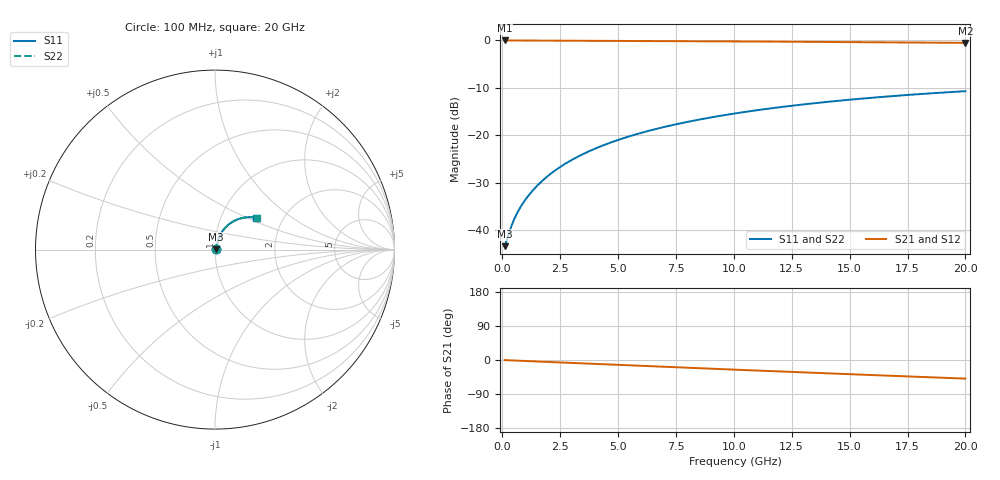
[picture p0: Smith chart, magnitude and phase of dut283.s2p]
! Touchstone file exported from HFSS 2026.1.0
!  File:  C:/ffzhzh/LocalFiles/Ansys_Project_Files/temp_train_TMRDL_283_1782985373_45328.aedt
!  Generated:  05:44:02 PM Jul  2, 2026
!  Design:  TMRDL
!  Project:  temp_train_TMRDL_283_1782985373_45328
! Variables:
!  h_bsmrdl = 2um
!  h_ox = 20um
!  h_rdl = 5um
!  h_sub = 80um
!  h_tmrdl = 2.61um
!  h_tsv = 80um
!  h_via = 3um
!  l_bsmrdl = 300um
!  l_sub = 1223.1um
!  l_tmrdl = 823.1um
!  m_sub = 200um
!  pitch = 28.14um
!  r_tsv = 6um
!  s_tmrdl = 10um
!  w_bsmrdl = 18um
!  w_sub = 500um
!  w_tmrdl = 17.86um
!  x_tsv_center1 = 832.03um
!  x_tsv_center2 = 1150.03um
!  x_tsv_center3 = 1990.99um
!  x_tsv_center4 = 2308.99um
!  x_tsv_center5 = 3149.95um
!  x_tsv_center6 = 3467.95um
# GHz S MA R 50.000000
! Terminal data exported
! Port[1] = TM_RDL1_1_T1
! Port[2] = TM_RDL1_1_T2
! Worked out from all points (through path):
!   200 points, 100 MHz to 20 GHz, reference 50 ohm
!   highest |S21| = -0.06 dB at 100 MHz (marker M1); lowest = -0.6 dB at 20 GHz (marker M2)
!   group delay of S21, straight-line fit = 6.82 ps
!   lowest |S11| = -43.4 dB at 100 MHz (marker M3), VSWR 1.01, Z = 50.6 + j0.226 ohm
!   |S11| at or under -10 dB: start of sweep to end of sweep
!   |S22| runs from -43.4 to -10.7 dB; largest |S21 - S12| = 2.7e-15
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0.1  0.006795 19.1  0.9936 -0.3  0.9936 -0.3  0.006795 19.1
! Gamma 0 0 0 0
! Port Impedance 50 0 50 0
0.4  0.01115 48.7  0.9928 -1.1  0.9928 -1.1  0.01115 48.7
0.5  0.01282 52.8  0.9924 -1.4  0.9924 -1.4  0.01282 52.8
0.6  0.01448 55.9  0.9922 -1.6  0.9922 -1.6  0.01448 55.9
0.7  0.01612 58.4  0.9919 -1.9  0.9919 -1.9  0.01612 58.4
0.9  0.01938 62.1  0.9915 -2.4  0.9915 -2.4  0.01939 62.1
1.1  0.02266 64.8  0.9912 -2.9  0.9912 -2.9  0.02266 64.8
1.3  0.02596 66.8  0.9909 -3.4  0.9909 -3.4  0.02596 66.8
1.8  0.03435 69.9  0.9904 -4.7  0.9904 -4.7  0.03435 69.9
2.3  0.04287 71.4  0.9898 -6.0  0.9898 -6.0  0.04288 71.4
2.9  0.05319 72.1  0.989 -7.5  0.989 -7.5  0.0532 72.1
3.5  0.06352 72.0  0.9881 -9.1  0.9881 -9.1  0.06353 72.0
4.2  0.07553 71.4  0.9869 -10.8  0.9869 -10.8  0.07554 71.3
5  0.08912 70.3  0.9854 -12.9  0.9854 -12.9  0.08913 70.2
5.9  0.1042 68.7  0.9833 -15.2  0.9833 -15.2  0.1042 68.6
6.8  0.119 66.9  0.9811 -17.4  0.9811 -17.4  0.119 66.8
8.3  0.1429 63.7  0.9769 -21.2  0.9769 -21.2  0.1429 63.6
10.1  0.1702 59.7  0.9713 -25.6  0.9713 -25.6  0.1702 59.6
11.7  0.1932 56.1  0.966 -29.5  0.966 -29.5  0.1932 56.0
13.4  0.2161 52.2  0.9602 -33.6  0.9602 -33.6  0.2162 52.1
16.7  0.2564 44.7  0.9486 -41.5  0.9486 -41.5  0.2564 44.6
20  0.2907 37.4  0.9376 -49.1  0.9376 -49.1  0.2908 37.2
